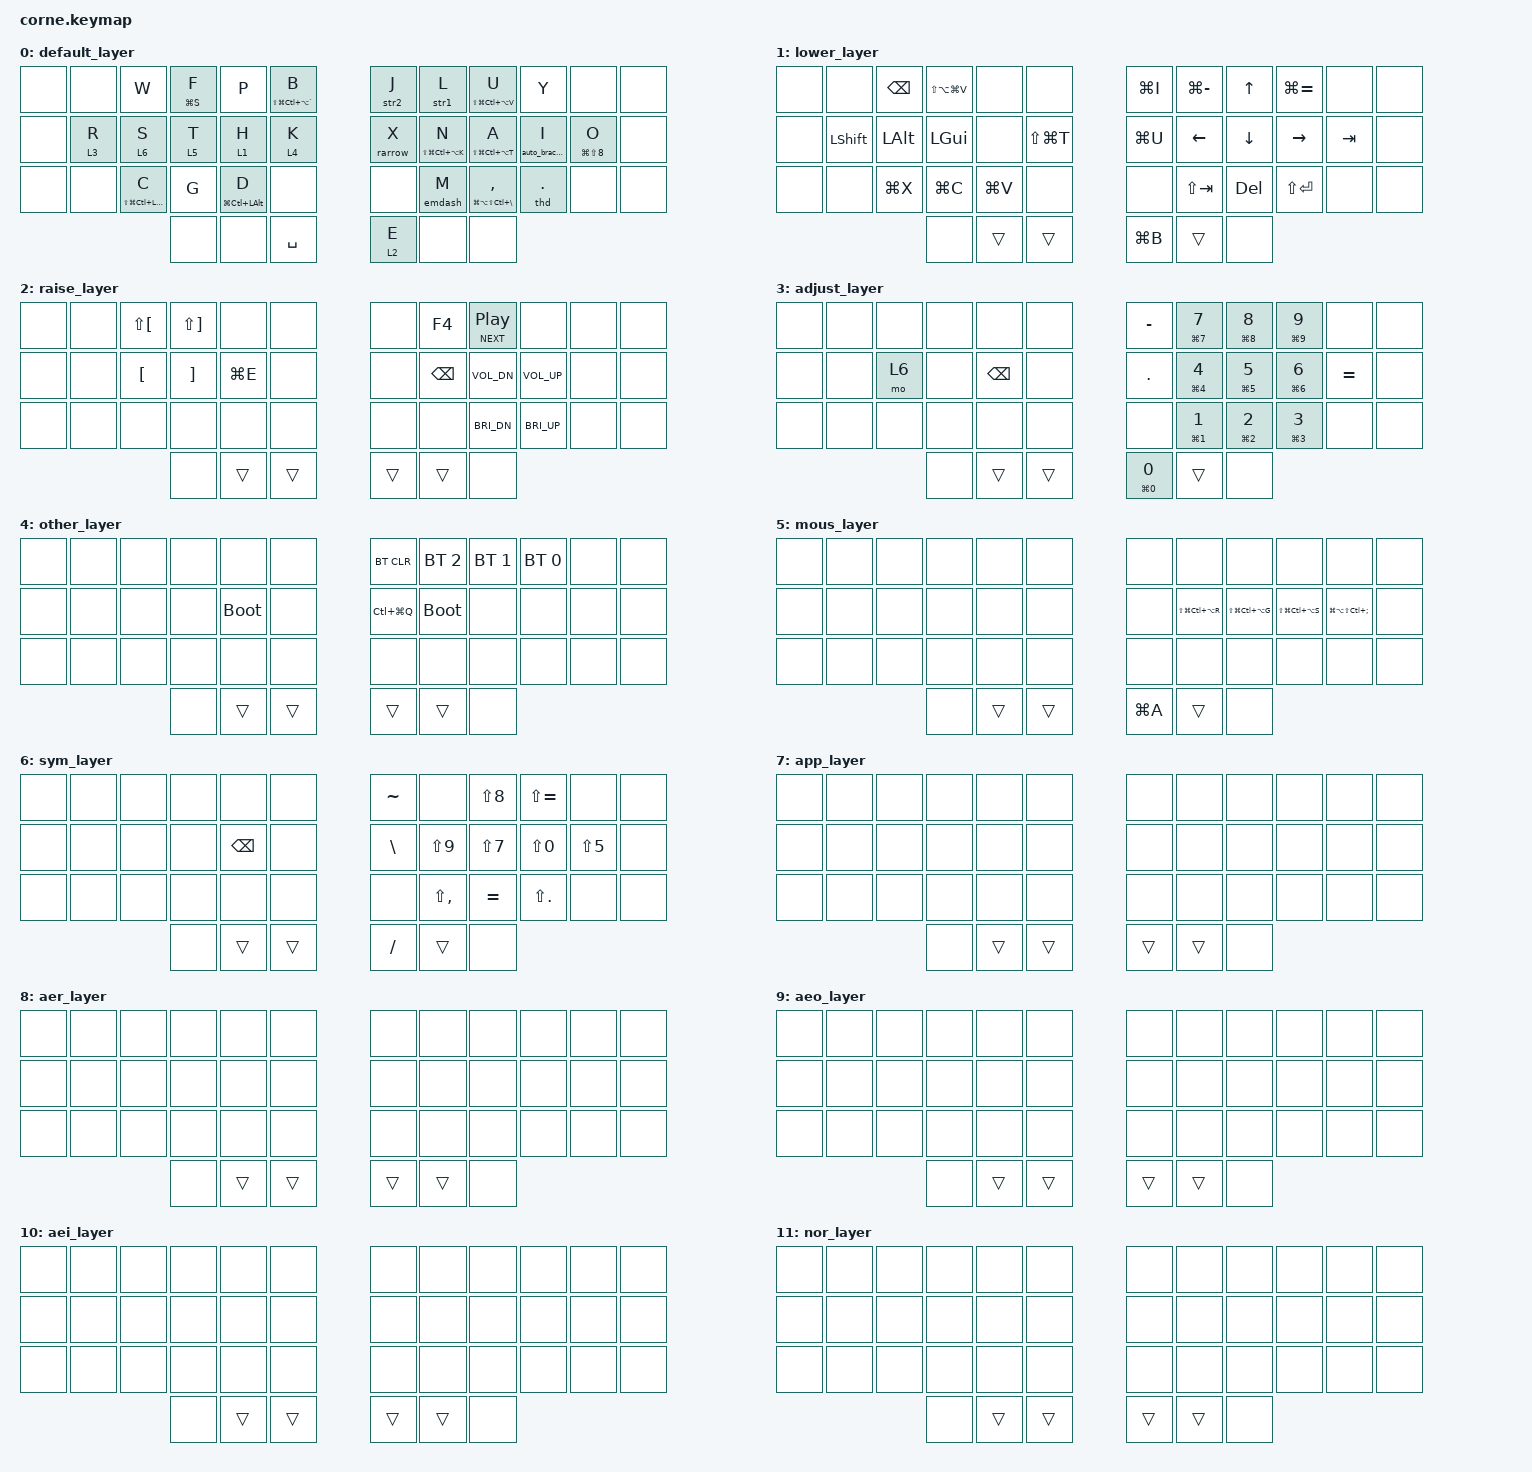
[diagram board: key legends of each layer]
#include <behaviors.dtsi>
#include <dt-bindings/zmk/keys.h>
#include <dt-bindings/zmk/bt.h>
#include "helper.h"
#include "keypos_42keys.h"
#include "mouse.dtsi"
 
#define KEYS_L LT5 LT4 LT3 LT2 LT1 LT0 LM5 LM4 LM3 LM2 LM1 LM0 LB5 LB4 LB3 LB2 LB1 LB0
#define KEYS_R RT0 RT1 RT2 RT3 RT4 RT5 RM0 RM1 RM2 RM3 RM4 RM5 RB0 RB1 RB2 RB3 RB4 RB5
#define KEYS_T LH2 LH1 LH0 RH0 RH1 RH2

#define HM_TAPPING_TERM 350
#define COMBO_TAPPING_TERM 500
#define HR_IDLE_TERM 150

#define COMBO_FAST 20
#define COMBO_NORMAL 30
#define COMBO_SLOW 80
#define COMBO_V_SLOW 100
#define HOLD_TIME 250

//thumbs
#define L_TH 38
#define R_TH 39

#define DEFAULT 0
#define LOWER   1
#define RAISE   2
#define ADJUST  3
#define OTHER   4
#define MOUS    5
#define SYM     6
#define APP     7
#define AER     8
#define AEO     9
#define AEI     10
#define NOR     11

//shortcuts
#define MEH_C &hr_l LG(LC(LALT)) C
#define MEHK &kp LG(LC(LALT))           //meh key press
#define MEH LG(LC(LALT))                //meh
#define CLOSETAB &kp LG(W)
#define DELWORD &kp LA(BSPC)
#define PLAINPASTE &kp LS(LA(LG(V))) 
#define REDO &kp LS(LG(Z)) 
#define REDO_TAB &kp LS(LG(T)) 
#define TAB_UP &kp LC(LA(PG_UP))
#define TAB_DN &kp LC(LA(PG_DN))
#define BACK &kp LG(LBKT)  
#define FORWARD &kp LG(RBKT)
#define CMD_K &kp LG(K)
#define CMD_W &kp LG(W)
#define MIN &kp LG(M)                   //minimize
#define LOCK &kp LC(LG(Q))              //lock
#define BULT LG(LS(N8))                 //bullet
#define Z_MUTE LG(LS(A))
#define L_WORD LA(LEFT)
#define R_WORD LA(RIGHT)

//Hyper keys

#define HYPERK    &kp LS(LG(LC(LALT)))     //hyper key press
#define HYPER     LS(LG(LC(LALT)))         //hyper key code
#define TTASK     LS(LG(LC(LA(H))))        //todoist task
#define SSHOT     LS(LG(LC(LA(P))))        //screenshot
#define MSLS      LS(LG(LC(LA(LBKT))))     //homerow app
#define CPLK      LS(LG(LC(LA(D))))        //copy link
#define BBIT      LS(LG(LC(LA(GRAVE))))    //bitwarden autofill
   
#define LD_K_B    LS(LG(LC(LA(NUBS))))     //leader key b
#define RAYC      LS(LG(LC(LA(SQT))))      //raycast
#define AUDO      LS(LG(LC(LA(W))))        //change audio
#define SIDE      LA(LC(LS(LG(MINUS))))    //side bar hyper hyphen
#define HYP_K     LS(LG(LC(LA(K))))        //gemini ai
#define HYP_R     LS(LG(LC(LA(R))))        //clean text
#define HYP_S     LS(LG(LC(LA(S))))        //make text professional
#define HYP_T     LS(LG(LC(LA(T))))        //perplexity
#define HYP_V     LS(LG(LC(LA(V))))        //to do obsidian list
#define HYP_G     LS(LG(LC(LA(G))))        //streamline text
#define HYP_C     LG(LA(LS(LC(C))))        //clipboard
#define HYP_SE    LG(LA(LS(LC(SEMI))))     //make shorter
#define HYP_B     LG(LA(LS(LC(B))))        //input setting
#define HYP_X     LG(LA(LS(LC(X))))        //mouseless
#define HYP_BSLH  LG(LA(LS(LC(BSLH))))     //raycast notes
#define DICT      LG(LA(LS(LC(EQUAL))))    //dictation


//App switcher aerospace keys
#define HYP_1 &kp LS(LG(LC(LA(N1))))
#define HYP_2 &kp LS(LG(LC(LA(N2))))
#define HYP_3 &kp LS(LG(LC(LA(N3))))
#define HYP_4 &kp LS(LG(LC(LA(N4))))
#define HYP_5 &kp LS(LG(LC(LA(N5))))
#define HYP_6 &kp LS(LG(LC(LA(N6))))
#define HYP_7 &kp LS(LG(LC(LA(N7))))
#define HYP_8 &kp LS(LG(LC(LA(N8))))
#define HYP_9 &kp LS(LG(LC(LA(N9))))
#define HYP_0 &kp LS(LG(LC(LA(N0))))

//Aerospace keys - meh keys
#define MEH_Z       &kp LG(LC(LA(Z)))
#define MEH_F       &kp LG(LC(LA(F)))
#define MEH_O       &kp LG(LC(LA(O)))
#define MEH_U       &kp LG(LC(LA(U)))
#define MEH_SE      &kp LG(LC(LA(SEMI)))

#define MEH_M       &kp LG(LC(LA(M)))
#define MEH_N       &kp LG(LC(LA(N)))
#define MEH_E       &kp LG(LC(LA(E)))
#define MEH_I       &kp LG(LC(LA(I)))
#define MEH_A       &kp LG(LC(LA(A)))

#define MEH_X       &kp LG(LC(LA(X)))
#define MEH_H       &kp LG(LC(LA(H)))
#define MEH_CO      &kp LG(LC(LA(COMMA)))
#define MEH_FU      &kp LG(LC(LA(DOT)))
#define MEH_SL      &kp LG(LC(LA(FSLH)))

#define MEH_Y       &kp LG(LC(LA(Y)))
#define MEH_S       &kp LG(LC(LA(S)))
#define MEH_T       &kp LG(LC(LA(T)))

#define MEH_W       &kp LG(LC(LA(W)))
#define MEH_W_K     LG(LC(LA(W)))

//Hyper keys - right side
#define HYPER_Z     &kp LS(LG(LC(LA(Z))))
#define HYPER_F     &kp LS(LG(LC(LA(F))))
#define HYPER_O     &kp LS(LG(LC(LA(O))))
#define HYPER_U     &kp LS(LG(LC(LA(U))))

#define HYPER_M     &kp LS(LG(LC(LA(M))))
#define HYPER_N     &kp LS(LG(LC(LA(N))))
#define HYPER_E     &kp LS(LG(LC(LA(E))))
#define HYPER_I     &kp LS(LG(LC(LA(I))))
#define HYPER_A     &kp LS(LG(LC(LA(A))))

#define HYPER_X     &kp LS(LG(LC(LA(X))))
#define HYPER_H     &kp LS(LG(LC(LA(H))))
#define HYPER_CO    &kp LS(LG(LC(LA(COMMA))))
#define HYPER_FU    &kp LS(LG(LC(LA(DOT))))
#define HYPER_SL    &kp LS(LG(LC(LA(FSLH))))

#define HYPER_Y     &kp LS(LG(LC(LA(Y))))

//Numbers with cmd on hold
#define CMD_0 &ht LG(N0) N0
#define CMD_1 &ht LG(N1) N1
#define CMD_2 &ht LG(N2) N2 
#define CMD_3 &ht LG(N3) N3 
#define CMD_4 &ht LG(N4) N4 
#define CMD_5 &ht LG(N5) N5 
#define CMD_6 &ht LG(N6) N6 
#define CMD_7 &ht LG(N7) N7 
#define CMD_8 &ht LG(N8) N8 
#define CMD_9 &ht LG(N9) N9 

//Other keys
#define XXX &none
#define ___ &trans
#define AS_FSLH &ht FSLH LS(FSLH)
#define V_UP &kp C_VOL_UP
#define V_DN &kp C_VOL_DN
#define B_UP &kp C_BRI_UP
#define B_DN &kp C_BRI_DN


&lt {  // layer-tap config
    flavor = "tap-preferred";
    tapping-term-ms = <250>;
};

&sk {  // Sticky Layer Change
    release-after-ms = <3000>;
    quick-release;
    //lazy;
};

/*                                      42 KEY MATRIX / LAYOUT MAPPING

  ╭────────────────────────┬────────────────────────╮ 
  │          2   3   4   5 │  6   7   8   9         │ 
  │     13  14  15  16  17 │ 18  19  20  21  22     │ 
  │         26  27  28     │     31  32  33         │
  ╰───────────╮     37  38 │ 39  40     ╭───────────╯ 
              ╰────────────┴────────────╯                               */

/ {

//------------------------------------------------------------------------------------------------------------------------------------ MACROS

    macros {
        auto_brackets: auto_brackets {
            compatible = "zmk,behavior-macro";
            #binding-cells = <0>;
            bindings
                = <&kp LS(N9)>
                , <&kp LS(N0)>
                , <&kp LEFT>
                ;
        };

        sel_line: sel_line {
            compatible = "zmk,behavior-macro";
            #binding-cells = <0>;
            bindings
                = <&kp LG(RIGHT)>
                , <&kp LG(LS(LEFT))>
                ;
        };

        sel_word: sel_word {
            compatible = "zmk,behavior-macro";
            #binding-cells = <0>;
            bindings
                = <&kp LA(LS(LEFT))>
                ;
        };

        sched: sched {
            compatible = "zmk,behavior-macro";
            #binding-cells = <0>;
            bindings
                = <&kp LA(LS(LG(LC(V))))>
                ;
        };

        tap: tap {
            compatible = "zmk,behavior-macro-one-param";
            #binding-cells = <1>;
            // By default, macros will tap each behavior in the bindings list,
            // so this will tap "&kp <param1>".
            bindings = <&macro_param_1to1 &kp MACRO_PLACEHOLDER>;
        };

        str1: str1 {
            compatible = "zmk,behavior-macro";
            #binding-cells = <0>;
            bindings
                = <&macro_tap &kp LS(F) &kp R &kp A &kp N &kp K &kp I &kp E &kp LS(O) &kp N &kp E &kp N2 &kp N5 &kp LS(N5)>
                ;
        };    

        str2: str2 {
            compatible = "zmk,behavior-macro";
            #binding-cells = <0>;
            bindings
                = <&macro_tap &kp N3 &kp N1 &kp LS(V) &kp A &kp L &kp E &kp N &kp C &kp I &kp A &kp LS(S) &kp T &kp R &kp E &kp E &kp T &kp LS(N1) &kp N2 &kp N0 &kp N1 &kp N9>
                ;
        };    

        ddash: ddash {
            compatible = "zmk,behavior-macro";
            #binding-cells = <0>;
            bindings
                = <&macro_tap &kp MINUS>
                ;
        };

        qquest: qquest {
            compatible = "zmk,behavior-macro";
            #binding-cells = <0>;
            bindings
                = <&macro_tap &kp Q &kp U>
                ;
        };

        qquestt: qquestt {
            compatible = "zmk,behavior-macro";
            #binding-cells = <0>;
            bindings
                = <&macro_tap &sk LSHIFT>
                , <&macro_tap &kp Q &kp U>
                ;
        };

        rarrow: rarrow {
            compatible = "zmk,behavior-macro";
            #binding-cells = <0>;
            bindings
                = <&macro_tap &kp MINUS &kp MINUS &kp LS(DOT)>
                ;
        };

        rcmdd: rcmdd {
            compatible = "zmk,behavior-macro";
            #binding-cells = <0>;
            bindings
                = <&macro_tap &kp RGUI>
                ;
        };

        cplink: cplink {
            compatible = "zmk,behavior-macro";
            #binding-cells = <0>;
            bindings
                = <&macro_tap &kp CPLK>
                ;
        };

        seall: seall {
            compatible = "zmk,behavior-macro";
            #binding-cells = <0>;
            bindings
                = <&macro_tap &kp LG(A)>
                ;
        };

        emdash: emdash {
            compatible = "zmk,behavior-macro";
            #binding-cells = <0>;
            bindings
                = <&macro_tap &kp LS(LA(MINUS))>
                ;
        };

        slact: slact {
            compatible = "zmk,behavior-macro";
            #binding-cells = <0>;
            bindings
                = <&macro_tap &kp LC(N3)>
                ;
        };

        tdist: tdist {     //todoist shortcut
            compatible = "zmk,behavior-macro";
            #binding-cells = <0>;
            bindings
                = <&macro_press &kp LS(LG(LC(LEFT_ALT)))>
                , <&macro_tap &kp H>
                , <&macro_release &kp LS(LG(LC(LEFT_ALT)))>
                ;
        };

        scalet: scalet {     //scale hash tag
            compatible = "zmk,behavior-macro";
            #binding-cells = <0>;
            bindings
                = <&macro_tap &kp LS(N3) &kp S &kp C &kp A &kp L &kp TAB>
                ;
        };

        mosrcl: mosrcl {
            compatible = "zmk,behavior-macro";
            #binding-cells = <0>;
            bindings
                = <&macro_tap &kp LS(LG(LC(LA(W))))> 
                , <&to 5>
                ;
        };

        thd: thd {
            compatible = "zmk,behavior-macro";
            #binding-cells = <0>;
            bindings
                = <&macro_tap &kp MINUS &kp MINUS &kp MINUS>
                ;
        };

        moclk: moclk {
            compatible = "zmk,behavior-macro";
            #binding-cells = <0>;
            bindings
                = <&macro_press &kp LS(LG(LC(LEFT_ALT)))>
                , <&macro_tap &kp LBKT>
                , <&macro_release &kp LS(LG(LC(LEFT_ALT)))>
                ;
        };

        dline: dline {
            compatible = "zmk,behavior-macro";
            #binding-cells = <0>;
            bindings
                = <&macro_press &kp LCMD>
                , <&macro_tap &kp LEFT>
                , <&macro_tap &kp LEFT>
                , <&macro_press &kp LSHIFT>
                , <&macro_tap &kp RIGHT>
                , <&macro_release &kp LCMD>
                , <&macro_release &kp LSHIFT>
                , <&macro_tap &kp BSPC>
                , <&macro_tap &kp BSPC>
                ;
        };

        dline_b: dline_b {
            compatible = "zmk,behavior-macro";
            #binding-cells = <0>;
            bindings
                = <&macro_press &kp LCMD>
                , <&macro_tap &kp LEFT>
                , <&macro_tap &kp LEFT>
                , <&macro_press &kp LSHIFT>
                , <&macro_tap &kp RIGHT>
                , <&macro_release &kp LCMD>
                , <&macro_release &kp LSHIFT>
                , <&macro_tap &kp BSPC>
                ;
        };
    };

//------------------------------------------------------------------------------------------------------------------------------------ COMBOS

    combos {
        compatible = "zmk,combos";

// screenshot
        combo_screenshot {
            timeout-ms = <COMBO_V_SLOW>;
            key-positions = <L_TH 14 3>;
            require-prior-idle-ms = <COMBO_FAST>;
            bindings = <&kp SSHOT>;
        };

// copy link
        combo_copy_link {
            timeout-ms = <COMBO_V_SLOW>;
            key-positions = <L_TH 15 16>;
            require-prior-idle-ms = <COMBO_FAST>;
            bindings = <&kp CPLK>;
        };

// clipboard
        combo_clip_board {
            timeout-ms = <COMBO_V_SLOW>;
            key-positions = <19 20 33>;
            require-prior-idle-ms = <COMBO_FAST>;
            bindings = <&kp HYP_C>;
        };

// leader key
        combo_ldr_key {
            timeout-ms = <COMBO_V_SLOW>;
            key-positions = <31 20 21>;
            require-prior-idle-ms = <COMBO_FAST>;
            bindings = <&kp LD_K_B>;
        };

// raycast
        combo_raycast {
            timeout-ms = <COMBO_V_SLOW>;
            key-positions = <R_TH 20 21>;
            require-prior-idle-ms = <COMBO_FAST>;
            bindings = <&kp RAYC>;
        };

// capsword right
        combo_r_capsword {
            timeout-ms = <COMBO_V_SLOW>;
            key-positions = <R_TH 8 9>;
            require-prior-idle-ms = <COMBO_FAST>;
            bindings = <&caps_word>;
        };

// right hand combo shift
        combo_shift {
            timeout-ms = <COMBO_NORMAL>;
            key-positions = <32 33>;
            require-prior-idle-ms = <COMBO_FAST>;
            bindings = <&sk LSHIFT>;
        };

// dictation
        combo_dictation { 
            timeout-ms = <COMBO_V_SLOW>;
            key-positions = <R_TH 19 20>;
            require-prior-idle-ms = <COMBO_FAST>;
            bindings = <&kp DICT>;
        };

// mouseless click
        combo_mouseless_click {
            timeout-ms = <COMBO_V_SLOW>;
            key-positions = <L_TH 2 3>;
            require-prior-idle-ms = <COMBO_FAST>;
            bindings = <&kp HYP_X>;
        };

// : colon
        combo_colon {
            timeout-ms = <COMBO_V_SLOW>;
            key-positions = <19 32>;
            require-prior-idle-ms = <COMBO_FAST>;
            bindings = <&kp LS(SEMI)>;
        };

// ; semicolon
        combo_semicolon {
            timeout-ms = <COMBO_V_SLOW>;
            key-positions = <R_TH 19 32>;
            require-prior-idle-ms = <COMBO_FAST>;
            bindings = <&kp SEMI>;
        };

// ? question
        combo_question {
            timeout-ms = <COMBO_V_SLOW>;
            key-positions = <19 33>;
            require-prior-idle-ms = <COMBO_FAST>;
            bindings = <&kp LS(FSLH)>;
        };

// ! exclamation point
        combo_excl_point {
            timeout-ms = <COMBO_V_SLOW>;
            key-positions = <R_TH 19 33>;
            require-prior-idle-ms = <COMBO_FAST>;
            bindings = <&kp LS(N1)>;
        };

// @ at sign
        combo_at_sign {
            timeout-ms = <COMBO_V_SLOW>;
            key-positions = <R_TH 19 21>;
            require-prior-idle-ms = <COMBO_FAST>; 
            bindings = <&kp LS(N2)>;
        };

// # hash sign
        combo_hash_sign {
            timeout-ms = <20>;
            key-positions = <14 15>;
            require-prior-idle-ms = <50>;
            bindings = <&kp LS(N3)>;
        };

// $ dollar sign
        combo_dollar_sign {
            timeout-ms = <20>;
            key-positions = <15 16>;
            require-prior-idle-ms = <50>;
            bindings = <&kp LS(N4)>;
        };

// ' apostrophe
        combo_apos {
            timeout-ms = <COMBO_V_SLOW>;
            key-positions = <20 33>;
            require-prior-idle-ms = <COMBO_FAST>;
            bindings = <&kp SQT>;
        };

// cmd k
        combo_cmd_k {
            timeout-ms = <COMBO_NORMAL>;
            key-positions = <8 9>;
            require-prior-idle-ms = <COMBO_FAST>;
            bindings = <&kp LG(K)>;
        };

// key press v
        combo_kp_v {
            timeout-ms = <COMBO_V_SLOW>;
            key-positions = <14 15 16>;
            require-prior-idle-ms = <COMBO_FAST>;
            bindings = <&kp V>;
        };

// key press V - caps
        combo_kp_v_caps {
            timeout-ms = <COMBO_V_SLOW>;
            key-positions = <L_TH 14 15 16>;
            require-prior-idle-ms = <COMBO_FAST>;
            bindings = <&kp LS(V)>;
        };

// key press qu
        combo_kp_qu {
            timeout-ms = <COMBO_NORMAL>;
            key-positions = <3 4>;
            require-prior-idle-ms = <COMBO_FAST>;
            bindings = <&qquest>;
        };

// key press Qu - caps
        combo_kp_qu_caps {
            timeout-ms = <COMBO_V_SLOW>;
            key-positions = <3 4 L_TH>;
            require-prior-idle-ms = <COMBO_FAST>;
            bindings = <&qquestt>;
        };

// key press q
        combo_kp_q {
            timeout-ms = <COMBO_NORMAL>;
            key-positions = <2 4>;
            require-prior-idle-ms = <COMBO_FAST>;
            bindings = <&kp Q>;
        };

// key press Q - caps
        combo_kp_q_caps {
            timeout-ms = <COMBO_V_SLOW>;
            key-positions = <L_TH 2 4>;
            require-prior-idle-ms = <COMBO_FAST>;
            bindings = <&kp LS(Q)>;
        };

// key press z
        combo_kp_z {
            timeout-ms = <COMBO_NORMAL>;
            key-positions = <7 8>;
            require-prior-idle-ms = <COMBO_FAST>;
            bindings = <&kp Z>;
        };

// key press Z - caps
        combo_kp_z_caps {
            timeout-ms = <COMBO_V_SLOW>;
            key-positions = <R_TH 7 8>;
            require-prior-idle-ms = <30>;
            bindings = <&kp LS(Z)>;
        };

// cmd delete
        combo_perm_del {
            timeout-ms = <COMBO_FAST>;
            key-positions = <5 17>;
            require-prior-idle-ms = <COMBO_TAPPING_TERM>;
            bindings = <&kp LG(BSPC)>;
        };

// delword right hand
        combo_del_word {
            timeout-ms = <COMBO_V_SLOW>;
            key-positions = <19 8 9>;
            require-prior-idle-ms = <COMBO_FAST>;
            bindings = <DELWORD>;
        };

// tab
        combo_tab {             
            timeout-ms = <COMBO_NORMAL>;
            key-positions = <14 26>;
            require-prior-idle-ms = <COMBO_FAST>;
            bindings = <&kp TAB>;
        };

// delete left hand
        combo_del_l { 
            timeout-ms = <COMBO_V_SLOW>;
            key-positions = <2 3 16>;
            require-prior-idle-ms = <COMBO_FAST>;
            bindings = <&kp BSPC>;
        };

// undo cmd z
        combo_undo {
            timeout-ms = <COMBO_V_SLOW>;
            key-positions = <L_TH 14 15>;
            require-prior-idle-ms = <COMBO_FAST>;
            bindings = <&kp LG(Z)>;
        };

// find
        combo_find {
            timeout-ms = <COMBO_V_SLOW>;
            key-positions = <4 5>;
            require-prior-idle-ms = <COMBO_FAST>;
            bindings = <&kp LG(F)>;
        };

// enter - return left
        combo_ret_l {
            timeout-ms = <COMBO_V_SLOW>;
            key-positions = <14 15 28>;
            require-prior-idle-ms = <COMBO_FAST>;
            bindings = <&kp RET>;
        };

// enter - return right
        combo_ret_r {
            timeout-ms = <COMBO_V_SLOW>;
            key-positions = <19 20 21>;
            require-prior-idle-ms = <COMBO_FAST>;
            bindings = <&kp RET>;
        };

// esc left
//        combo_esc_l {
//            timeout-ms = <COMBO_FAST>;
//            key-positions = <3 15>;
//            require-prior-idle-ms = <50>;
//            bindings = <&kp ESC>;
//        };

// esc right
//        combo_esc_r {
//            timeout-ms = <COMBO_FAST>;
//            key-positions = <8 20>;
//            require-prior-idle-ms = <50>;
//            bindings = <&kp ESC>;
//        };

// esc left 2
        combo_esc_l_2 {
            timeout-ms = <COMBO_V_SLOW>;
            key-positions = <13 14 15 16>;
            require-prior-idle-ms = <COMBO_FAST>;
            bindings = <&kp ESC>;
        };

// esc right
        combo_esc_r_2 {
            timeout-ms = <COMBO_V_SLOW>;
            key-positions = <19 20 21 22>;
            require-prior-idle-ms = <COMBO_FAST>;
            bindings = <&kp ESC>;
        };

// copy - cmd C - left
        combo_cmd_C {
            timeout-ms = <COMBO_FAST>;
            key-positions = <26 27>;
            require-prior-idle-ms = <150>;
            bindings = <&kp LG(C)>;
        };

// paste - cmd V - left
        combo_cmd_V {
            timeout-ms = <COMBO_FAST>;
            key-positions = <27 28>;
            require-prior-idle-ms = <150>;
            bindings = <&kp LG(V)>;
        };

// select all - cmd A - left
        combo_cmd_A {
            timeout-ms = <COMBO_SLOW>;
            key-positions = <26 27 28>;
            require-prior-idle-ms = <150>;
            bindings = <&kp LG(A)>;
        };

// cut - cmd X - left
        combo_cmd_X {
            timeout-ms = <COMBO_SLOW>;
            key-positions = <26 28>;
            require-prior-idle-ms = <150>;
            bindings = <&kp LG(X)>;
        };

// refresh - cmd R
        combo_refresh {
            timeout-ms = <COMBO_NORMAL>;
            key-positions = <16 28>;
            require-prior-idle-ms = <80>;
            bindings = <&kp LG(R)>;
        };

// back key
        combo_hypk {
            timeout-ms = <COMBO_FAST>;
            key-positions = <2 14>;
            require-prior-idle-ms = <150>;
            bindings = <&kp LG(LBKT)>;
        };

// max window - meh a
        combo_mmw {
            timeout-ms = <COMBO_V_SLOW>;
            key-positions = <L_TH 2 3 4>;
            require-prior-idle-ms = <COMBO_FAST>;
            bindings = <MEH_A>;
        };

// hyphen - 
        combo_hyphen {
            timeout-ms = <COMBO_V_SLOW>;
            key-positions = <R_TH 19 20 21>;
            require-prior-idle-ms = <COMBO_FAST>;
            bindings = <&kp MINUS>;
        };

// change output audio
        combo_o_audio {
            timeout-ms = <COMBO_FAST>;
            key-positions = <21 33>;
            require-prior-idle-ms = <150>;
            bindings = <&kp AUDO>;
        };

// change input audio
        combo_i_audio {
            timeout-ms = <COMBO_FAST>;
            key-positions = <9 21>;
            require-prior-idle-ms = <150>;
            bindings = <&kp HYP_B>;
        };        

// command comma ,
        combo_ccma {
            timeout-ms = <COMBO_NORMAL>;
            key-positions = <31 32>;
            require-prior-idle-ms = <COMBO_FAST>;
            bindings = <&kp LG(COMMA)>;
        };

// cmd w - close tab - left
        combo_cmdW_l {
            timeout-ms = <COMBO_NORMAL>;
            key-positions = <2 3>;
            require-prior-idle-ms = <80>;
            bindings = <&kp LG(W)>;
        };

// cmd w - close tab - right
        combo_cmdW_r {
            timeout-ms = <COMBO_SLOW>;
            key-positions = <7 8 9>;
            require-prior-idle-ms = <COMBO_FAST>;
            bindings = <&kp LG(W)>;
        };

// new - cmd n
        combo_cmdN {
            timeout-ms = <COMBO_FAST>;
            key-positions = <20 32>;
            require-prior-idle-ms = <COMBO_TAPPING_TERM>;
            bindings = <&kp LG(N)>;
        };     

// search files - cmd O
        combo_cmdO {
            timeout-ms = <COMBO_FAST>;
            key-positions = <6 7>;
            require-prior-idle-ms = <80>;
            bindings = <&kp LG(O)>;
        };

// quit
        combo_cmdQ {
            timeout-ms = <COMBO_SLOW>;
            key-positions = <2 3 8 9>;
            require-prior-idle-ms = <COMBO_TAPPING_TERM>;
            bindings = <&kp LG(Q)>;
        };

// delete line right - left top middle ring
        combo_del_line_r {
            timeout-ms = <COMBO_FAST>;
            key-positions = <6 18>;
            require-prior-idle-ms = <COMBO_TAPPING_TERM>;
            bindings = <&dline>;
        };

// hyper hyphen - sidebar
        combo_cmd_hyphen {
            timeout-ms = <COMBO_SLOW>;
            key-positions = <2 3 4>;
            require-prior-idle-ms = <COMBO_TAPPING_TERM>;
            bindings = <&kp SIDE>;
        };
    };

//------------------------------------------------------------------------------------------------------------------------------------ BEHAVIOURS

    behaviors {

//mod morph - , <> ;
        mcs: mod_comma_semi {
            compatible = "zmk,behavior-mod-morph";
            #binding-cells = <0>;
            bindings = <&kp COMMA>, <&kp SEMI>;
            mods = <(MOD_LSFT|MOD_RSFT)>;
        };

//mod morph - . <> :
        mdc: mod_dot_colon {
            compatible = "zmk,behavior-mod-morph";
            #binding-cells = <0>;
            bindings = <&kp DOT>, <&kp LS(SEMI)>;
            mods = <(MOD_LSFT|MOD_RSFT)>;
        };

//thumb hold with 2 keys
        th_kp: require-prior-idle {
            compatible = "zmk,behavior-hold-tap";
            #binding-cells = <2>;
            flavor = "balanced";
            tapping-term-ms = <250>; //updated from HM_TAPPING_TERM
            require-prior-idle-ms = <15>; // this was updated lower from 25         
            bindings = <&kp>, <&kp>;
        };

//thumb hold with layer+keys
        th_l: thumb_right_hold {
            compatible = "zmk,behavior-hold-tap";
            #binding-cells = <2>;
            flavor = "balanced";
            tapping-term-ms = <250>; //updated from HM_TAPPING_TERM
            require-prior-idle-ms = <25>;         
            bindings = <&mo>, <&kp>;
        };

//thumb hold with layers+sticky key
        th_lr: thumb_rightrepeat_hold {
            compatible = "zmk,behavior-hold-tap";
            #binding-cells = <2>;
            flavor = "balanced";
            tapping-term-ms = <250>; //updated from HM_TAPPING_TERM
            require-prior-idle-ms = <25>;         
            bindings = <&mo>, <&sk>;
        };

//home row mods left
        hr_l: homerow_mods_left {
            compatible = "zmk,behavior-hold-tap";
            #binding-cells = <2>;
            bindings = <&kp>,  <&kp>;
            flavor = "balanced";
            tapping-term-ms = <HM_TAPPING_TERM>;
            quick-tap-ms = <175>;               
            require-prior-idle-ms = <HR_IDLE_TERM>; 
            hold-trigger-key-positions = <KEYS_R KEYS_T>;
            hold-trigger-on-release;            
        };

//home row mods right
        hr_r: homerow_mods_right {
            compatible = "zmk,behavior-hold-tap";
            #binding-cells = <2>;
            bindings = <&kp>, <&kp>;
            flavor = "balanced";
            tapping-term-ms = <HM_TAPPING_TERM>;
            quick_tap_ms = <175>;
            require-prior-idle-ms = <HR_IDLE_TERM>; 
            hold-trigger-key-positions = <KEYS_L KEYS_T>;
            hold-trigger-on-release;           
        };

//home row layers left
        hl_l: homerow_layers_left {
            compatible = "zmk,behavior-hold-tap";
            #binding-cells = <2>;
            bindings = <&mo>,  <&kp>;
            flavor = "balanced";
            tapping-term-ms = <HM_TAPPING_TERM>;
            quick-tap-ms = <175>;              
            require-prior-idle-ms = <HR_IDLE_TERM>; 
            hold-trigger-key-positions = <KEYS_R KEYS_T>;
            hold-trigger-on-release;            
        };

//home row layers right
        hl_r: homerow_layers_right {
            compatible = "zmk,behavior-hold-tap";
            #binding-cells = <2>;
            bindings = <&mo>, <&kp>;
            flavor = "balanced";
            tapping-term-ms = <HM_TAPPING_TERM>;
            quick_tap_ms = <175>;
            require-prior-idle-ms = <HR_IDLE_TERM>;   
            hold-trigger-key-positions = <KEYS_L KEYS_T>;
            hold-trigger-on-release;            
        };

//hold autoshift with keys (&as)        
        as: auto_shift {
            compatible = "zmk,behavior-hold-tap";
            #binding-cells = <2>;
            tapping_term_ms = <HOLD_TIME>;
            quick_tap_ms = <0>;
            flavor = "tap-preferred";
            bindings = <&kp>, <&kp>;
        };

//hold tap only (&ht)        
        ht: hold_tap {
            compatible = "zmk,behavior-hold-tap";
            #binding-cells = <2>;
            tapping_term_ms = <HOLD_TIME>;
            quick_tap_ms = <0>;
            flavor = "tap-preferred";
            bindings = <&tap>, <&kp>;
        };

//sticky keys long hold - rcmd
        skq: sticky_key_quick_release {
            compatible = "zmk,behavior-sticky-key";
            #binding-cells = <1>;
            bindings = <&kp>;
            release-after-ms = <20000>;
            quick-release;
        };

//dash
        ed: ed {
            compatible = "zmk,behavior-hold-tap";
            #binding-cells = <2>;
            tapping_term_ms = <HOLD_TIME>;
            quick_tap_ms = <0>;
            flavor = "tap-preferred";
            bindings = <&ddash>, <&kp>;
        };

//brackets
        ab: ab {
            compatible = "zmk,behavior-hold-tap";
            #binding-cells = <2>;
            tapping_term_ms = <HOLD_TIME>;
            quick_tap_ms = <0>;
            flavor = "tap-preferred";
            bindings = <&auto_brackets>, <&kp>;
        };

//right arrow        
        ra: ra {
            compatible = "zmk,behavior-hold-tap";
            #binding-cells = <2>;
            tapping_term_ms = <HOLD_TIME>;
            quick_tap_ms = <0>;
            flavor = "tap-preferred";
            bindings = <&rarrow>, <&kp>;
        };

//rcmd
        rc: rc {
            compatible = "zmk,behavior-hold-tap";
            #binding-cells = <2>;
            tapping_term_ms = <HOLD_TIME>;
            quick_tap_ms = <0>;
            flavor = "tap-preferred";
            bindings = <&skq>, <&kp>;
        };

//copy link        
        cl: cl {
            compatible = "zmk,behavior-hold-tap";
            #binding-cells = <2>;
            tapping_term_ms = <HOLD_TIME>;
            quick_tap_ms = <0>;
            flavor = "tap-preferred";
            bindings = <&cplink>, <&kp>;
        };

//qu on tap, q on hold
        qq: qq {
            compatible = "zmk,behavior-hold-tap";
            #binding-cells = <2>;
            tapping_term_ms = <HOLD_TIME>;
            quick_tap_ms = <0>;
            flavor = "tap-preferred";
            bindings = <&kp>, <&qquest>;
        };

//select all
        sal: sal {
            compatible = "zmk,behavior-hold-tap";
            #binding-cells = <2>;
            tapping_term_ms = <HOLD_TIME>;
            quick_tap_ms = <0>;
            flavor = "tap-preferred";
            bindings = <&seall>, <&kp>;
        };

//emdash
        emd: emd {
            compatible = "zmk,behavior-hold-tap";
            #binding-cells = <2>;
            tapping_term_ms = <HOLD_TIME>;
            quick_tap_ms = <0>;
            flavor = "tap-preferred";
            bindings = <&emdash>, <&kp>;
        };

//schedule
        sch: sch {
            compatible = "zmk,behavior-hold-tap";
            #binding-cells = <2>;
            tapping_term_ms = <HOLD_TIME>;
            quick_tap_ms = <0>;
            flavor = "tap-preferred";
            bindings = <&sched>, <&kp>;
        };

//str
        str: str {
            compatible = "zmk,behavior-hold-tap";
            #binding-cells = <2>;
            tapping_term_ms = <HOLD_TIME>;
            quick_tap_ms = <0>;
            flavor = "tap-preferred";
            bindings = <&str1>, <&kp>;
        };

//str2
        strr: strr {
            compatible = "zmk,behavior-hold-tap";
            #binding-cells = <2>;
            tapping_term_ms = <HOLD_TIME>;
            quick_tap_ms = <0>;
            flavor = "tap-preferred";
            bindings = <&str2>, <&kp>;
        };

//slack activity
        sla: sla {
            compatible = "zmk,behavior-hold-tap";
            #binding-cells = <2>;
            tapping_term_ms = <HOLD_TIME>;
            quick_tap_ms = <0>;
            flavor = "tap-preferred";
            bindings = <&slact>, <&kp>;
        };

//todoist
        tdt: tdt {
            compatible = "zmk,behavior-hold-tap";
            #binding-cells = <2>;
            tapping_term_ms = <HOLD_TIME>;
            quick_tap_ms = <0>;
            flavor = "tap-preferred";
            bindings = <&tdist>, <&kp>;
        };

//scale todoist
        sct: sct {
            compatible = "zmk,behavior-hold-tap";
            #binding-cells = <2>;
            tapping_term_ms = <HOLD_TIME>;
            quick_tap_ms = <0>;
            flavor = "tap-preferred";
            bindings = <&scalet>, <&kp>;
        };

//three hyphens
        thh: thh {
            compatible = "zmk,behavior-hold-tap";
            #binding-cells = <2>;
            tapping_term_ms = <HOLD_TIME>;
            quick_tap_ms = <0>;
            flavor = "tap-preferred";
            bindings = <&thd>, <&kp>;
        };

//mouse click - homerow
        mms: mms {
            compatible = "zmk,behavior-hold-tap";
            #binding-cells = <2>;
            tapping_term_ms = <HOLD_TIME>;
            quick_tap_ms = <0>;
            flavor = "tap-preferred";
            bindings = <&moclk>, <&kp>;
        };

//scale tag
        scd: scd {
            compatible = "zmk,behavior-hold-tap";
            #binding-cells = <2>;
            tapping_term_ms = <HOLD_TIME>;
            quick_tap_ms = <0>;
            flavor = "tap-preferred";
            bindings = <&scalet>, <&kp>;
        };

    };

//------------------------------------------------------------------------------------------------------------------------------------ KEYMAP

        keymap {
                compatible = "zmk,keymap";

                default_layer {
                        bindings = <
/* 
aptmak
  ┌────────────┬──────────────┬─────────────┬──────────────┬────────────┐                    ┌─────────────┬──────────────┬─────────────┬───────────┬─────────────┐
                               save                         bitwarden                         string2       string1        priority note 
  ├────────────┼──────────────┼─────────────┼──────────────┼────────────┤                    ├─────────────┼──────────────┼─────────────┼───────────┼─────────────┤
   numbers      symbols        manage layer  layer 1        bluetooth                         arrow         layer 7        voice search  brackets    bullet     
  ├────────────┼──────────────┼─────────────┼──────────────┼────────────┤                    ├─────────────┼──────────────┼─────────────┼───────────┼─────────────┤
                hyper                        meh                                                            em dash        raycast notes ---          
  └────────────┴──────────────┴───┬─────────┴─────┬────────┴───┬────────┘                    └───────┬─────┴───┬──────────┴─────────────┴───────────┴─────────────┘   
                                                XXX  &th_ls LSHIFT 0                      &th_l 2 SPACE      &sk LSHIFT  XXX
                                                  └────────────┴─────────────┘         └─────────┴─────────────┘ */

//┌────────────┬──────────────┬─────────────┬──────────────┬────────────┐                    ┌─────────────┬──────────────┬─────────────┬───────────┬─────────────┐
XXX   XXX          &kp W          &ht LG(S) F &kp P         &ht BBIT B                        &strr 0 J     &str 0 L       &ht HYP_V U         &kp Y       XXX         XXX
//├────────────┼──────────────┼─────────────┼──────────────┼────────────┤                    ├─────────────┼──────────────┼─────────────┼───────────┼─────────────┤
XXX   &hl_l 3 R    &hl_l 6 S      &hl_l 5 T   &hl_l 1 H     &hl_l 4 K                         &ra 0 X       &ht HYP_K N    &ht HYP_T A         &ab 0 I     &ht BULT O  XXX  
//├────────────┼──────────────┼─────────────┼──────────────┼────────────┤                    ├─────────────┼──────────────┼─────────────┼───────────┼─────────────┤
XXX   XXX          &as HYPER C    &kp G       &as MEH D     XXX                               XXX           &emd 0 M       &ht HYP_BSLH COMMA  &thh 0 DOT  XXX         XXX  
//└────────────┴──────────────┴─────────────┴─────┬────────┴───┬────────┘                    └───┬─────────┴───┬──────────┴─────────────┴───────────┴─────────────┘   
                                               XXX    XXX         &kp SPACE                &th_l 2 E  XXX XXX        
                                               // └────────────┴─────────────┘         └─────────┴─────────────┘ 
                        >;
                };
                
                lower_layer {
                        bindings = <

// layer 1 - navigation and editing - left index

//┌────────────┬────────────┬──────────┬───────────┬─────────┐                    ┌───────────────┬─────────────┬─────────────┬───────────┬──────────┐
XXX   XXX          &kp BSPC     PLAINPASTE  XXX         XXX                           &kp LG(I)       &kp LG(MINUS) &kp UP        &kp LG(EQUAL)  XXX      XXX
//├────────────┼────────────┼──────────┼───────────┼─────────┤                    ├───────────────┼─────────────┼─────────────┼───────────┼──────────┤
XXX   &kp LSHFT    &kp LALT     &kp LGUI    XXX         REDO_TAB                      &kp LG(U)       &kp LEFT      &kp DOWN      &kp RIGHT      &kp TAB  XXX
//├────────────┼────────────┼──────────┼───────────┼─────────┤                    ├───────────────┼─────────────┼─────────────┼───────────┼──────────┤
XXX   XXX          &kp LG(X)    &kp LG(C)   &kp LG(V)   XXX                           XXX             &kp LS(TAB)   &kp DEL       &kp LS(RET)    XXX      XXX     
//└────────────┴────────────┴───┬──────┴─────┬─────┴───┬─────┘                    └───┬───────────┴───┬─────────┴─────────────┴───────────┴──────────┘
                          XXX     ___          ___                            &kp LG(B)    ___     XXX            
                             // └────────────┴─────────┘                    └─────────┴───────────────┘
                        >;
                };

                raise_layer {
                        bindings = < 

// layer 2 - media - right thumb

//┌─────────┬─────────┬──────────┬──────────────┬────────────┐                    ┌─────────┬──────────┬─────────────┬──────────────┬──────────┐
XXX   XXX   &kp LS(LBKT)  &kp LS(RBKT) XXX          XXX                               XXX    &kp F4     &ht C_NEXT C_PP  XXX         XXX   XXX
//├─────────┼─────────┼──────────┼──────────────┼────────────┤                    ├─────────┼──────────┼─────────────┼──────────────┼──────────┤
XXX   XXX   &kp LBKT      &kp RBKT     &kp LG(E)    XXX                               XXX    &kp BSPC   V_DN             V_UP        XXX   XXX    
//├─────────┼─────────┼──────────┼──────────────┼────────────┤                    ├─────────┼──────────┼─────────────┼──────────────┼──────────┤
XXX   XXX   XXX           XXX          XXX          XXX                               XXX    XXX        B_DN             B_UP        XXX   XXX
//└─────────┴─────────┴───┬──────┴─────┬────────┴───┬────────┘                    └───┬─────┴───┬──────┴─────────────┴──────────────┴──────────┘
                     XXX    ___         ___                           ___        ___      XXX
                       // └────────────┴─────────┘                    └─────────┴─────────┘
                        >;
                };

                adjust_layer {
                        bindings = <                    

// layer 3 - numbers and settings and nav - left middle finger

//┌─────────┬─────────┬──────────┬───────────┬─────────┐                    ┌─────────┬──────────┬─────────────┬───────────┬─────────────┐
XXX   XXX       XXX       XXX        XXX         XXX                            &kp MINUS CMD_7      CMD_8         CMD_9       XXX        XXX
//├─────────┼─────────┼──────────┼───────────┼─────────┤                    ├─────────┼──────────┼─────────────┼───────────┼─────────────┤
XXX   XXX       &mo 6     XXX        &kp BSPC    XXX                            &kp DOT   CMD_4      CMD_5         CMD_6       &kp EQUAL  XXX     
//├─────────┼─────────┼──────────┼───────────┼─────────┤                    ├─────────┼──────────┼─────────────┼───────────┼─────────────┤
XXX   XXX       XXX       XXX        XXX         XXX                            XXX       CMD_1      CMD_2         CMD_3       XXX        XXX      
//└─────────┴─────────┴───┬──────┴─────┬─────┴───┬─────┘                    └───┬─────┴───┬──────┴─────────────┴───────────┴─────────────┘
                   XXX      ___          ___                           CMD_0   ___       XXX                                     
                       // └────────────┴─────────┘                    └─────────┴─────────┘
                        >;
                };

                other_layer {
                        bindings = <                    

// layer 4 - other home row - left index corner

//┌─────────┬─────────┬──────────┬───────────┬─────────┐                    ┌─────────┬─────────────┬─────────────┬──────────────┬──────────┐
XXX   XXX       XXX       XXX        XXX         XXX                            &bt BT_CLR &bt BT_SEL 2  &bt BT_SEL 1  &bt BT_SEL 0   XXX XXX
//├─────────┼─────────┼──────────┼───────────┼─────────┤                    ├─────────┼─────────────┼─────────────┼──────────────┼──────────┤
XXX   XXX       XXX       XXX        &bootloader XXX                            LOCK       &bootloader   XXX           XXX            XXX XXX       
//├─────────┼─────────┼──────────┼───────────┼─────────┤                    ├─────────┼─────────────┼─────────────┼──────────────┼──────────┤
XXX   XXX       XXX       XXX        XXX         XXX                            XXX        XXX           XXX           XXX            XXX XXX
//└─────────┴─────────┴───┬──────┴─────┬─────┴───┬─────┘                    └───┬─────┴───┬─────────┴─────────────┴──────────────┴──────────┘
                     XXX    ___          ___                           ___        ___      XXX
                       // └────────────┴─────────┘                    └─────────┴─────────┘
                        >;
                };

                mous_layer {
                        bindings = <                    

// layer 5 - manage items
//                                                                                     clean      streamline    profesh    exec - what is this?        

//┌─────────┬─────────┬──────────┬───────────┬─────────┐                    ┌─────────┬──────────┬─────────────┬───────────┬──────────┐
XXX   XXX       XXX       XXX        XXX         XXX                            XXX       XXX        XXX           XXX         XXX        XXX
//├─────────┼─────────┼──────────┼───────────┼─────────┤                    ├─────────┼──────────┼─────────────┼───────────┼──────────┤
XXX   XXX       XXX       XXX        XXX         XXX                            XXX       &kp HYP_R  &kp HYP_G     &kp HYP_S   &kp HYP_SE XXX
//├─────────┼─────────┼──────────┼───────────┼─────────┤                    ├─────────┼──────────┼─────────────┼───────────┼──────────┤
XXX   XXX       XXX       XXX        XXX         XXX                            XXX       XXX        XXX           XXX         XXX        XXX
//└─────────┴─────────┴───┬──────┴─────┬─────┴───┬─────┘                    └───┬─────┴───┬──────┴─────────────┴───────────┴──────────┘
                   XXX      ___          ___                           &kp LG(A)  ___     XXX      
                       // └────────────┴─────────┘                    └─────────┴─────────┘

                        >;
                };

                sym_layer {
                        bindings = <                    

// layer 6 - symbol layer - left index down

//┌─────────┬─────────┬──────────┬───────────┬─────────┐                    ┌─────────┬──────────┬─────────────┬───────────┬──────────┐
XXX   XXX       XXX       XXX        XXX         XXX                            &kp TILDE XXX           &kp LS(N8) &kp LS(EQUAL) XXX        XXX
//├─────────┼─────────┼──────────┼───────────┼─────────┤                    ├─────────┼──────────┼─────────────┼───────────┼──────────┤
XXX   XXX       XXX       XXX        &kp BSPC    XXX                            &kp BSLH  &kp LS(N9)    &kp LS(N7) &kp LS(N0)    &kp LS(N5) XXX
//├─────────┼─────────┼──────────┼───────────┼─────────┤                    ├─────────┼──────────┼─────────────┼───────────┼──────────┤
XXX   XXX       XXX       XXX        XXX         XXX                            XXX       &kp LS(COMMA) &kp EQUAL  &kp LS(DOT)   XXX        XXX
//└─────────┴─────────┴───┬──────┴─────┬─────┴───┬─────┘                    └───┬─────┴───┬──────┴─────────────┴───────────┴──────────┘
                      XXX   ___          ___                           &kp FSLH       ___   XXX   
                       // └────────────┴─────────┘                    └─────────┴─────────┘

                        >;
                };

                app_layer {
                        bindings = <                    

// layer 7 - NOT USED

//┌─────────┬─────────┬──────────┬───────────┬─────────┐                    ┌─────────┬──────────┬─────────────┬───────────┬──────────┐
XXX   XXX       XXX       XXX        XXX         XXX                            XXX       XXX        XXX           XXX         XXX        XXX
//├─────────┼─────────┼──────────┼───────────┼─────────┤                    ├─────────┼──────────┼─────────────┼───────────┼──────────┤
XXX   XXX       XXX       XXX        XXX         XXX                            XXX       XXX        XXX           XXX         XXX        XXX
//├─────────┼─────────┼──────────┼───────────┼─────────┤                    ├─────────┼──────────┼─────────────┼───────────┼──────────┤
XXX   XXX       XXX       XXX        XXX         XXX                            XXX       XXX        XXX           XXX         XXX        XXX
//└─────────┴─────────┴───┬──────┴─────┬─────┴───┬─────┘                    └───┬─────┴───┬──────┴─────────────┴───────────┴──────────┘
                     XXX       ___          ___                            ___        ___  XXX     
                       // └────────────┴─────────┘                    └─────────┴─────────┘

                        >;
                };

                aer_layer {
                        bindings = <                    

// layer 8 - NOT USED - aerospace meh keys - left pinky

//┌─────────┬─────────┬──────────┬───────────┬─────────┐                    ┌─────────┬──────────┬─────────────┬───────────┬──────────┐
XXX   XXX       XXX       XXX        XXX         XXX                            XXX       XXX        XXX           XXX         XXX        XXX
//├─────────┼─────────┼──────────┼───────────┼─────────┤                    ├─────────┼──────────┼─────────────┼───────────┼──────────┤
XXX   XXX       XXX       XXX        XXX         XXX                            XXX       XXX        XXX           XXX         XXX        XXX
//├─────────┼─────────┼──────────┼───────────┼─────────┤                    ├─────────┼──────────┼─────────────┼───────────┼──────────┤
XXX   XXX       XXX       XXX        XXX         XXX                            XXX       XXX        XXX           XXX         XXX        XXX
//└─────────┴─────────┴───┬──────┴─────┬─────┴───┬─────┘                    └───┬─────┴───┬──────┴─────────────┴───────────┴──────────┘
                     XXX       ___          ___                            ___        ___  XXX    
                       // └────────────┴─────────┘                    └─────────┴─────────┘
                       
                        >;
                };

                aeo_layer {
                        bindings = <                    

// layer 9 - NOT USED

//┌─────────┬─────────┬──────────┬───────────┬─────────┐                    ┌─────────┬──────────┬─────────────┬───────────┬──────────┐
XXX   XXX       XXX       XXX        XXX         XXX                            XXX       XXX        XXX           XXX         XXX XXX
//├─────────┼─────────┼──────────┼───────────┼─────────┤                    ├─────────┼──────────┼─────────────┼───────────┼──────────┤
XXX   XXX       XXX       XXX        XXX         XXX                            XXX       XXX        XXX           XXX         XXX XXX
//├─────────┼─────────┼──────────┼───────────┼─────────┤                    ├─────────┼──────────┼─────────────┼───────────┼──────────┤
XXX   XXX       XXX       XXX        XXX         XXX                            XXX       XXX        XXX           XXX         XXX XXX
//└─────────┴─────────┴───┬──────┴─────┬─────┴───┬─────┘                    └───┬─────┴───┬──────┴─────────────┴───────────┴──────────┘
                        XXX    ___          ___                            ___        ___     XXX 
                       // └────────────┴─────────┘                    └─────────┴─────────┘
                       
                        >;
                };

                aei_layer {
                        bindings = <                    

// layer 10 - NOT USED

//┌─────────┬─────────┬──────────┬───────────┬─────────┐                    ┌─────────┬──────────┬─────────────┬───────────┬──────────┐
XXX   XXX       XXX       XXX        XXX         XXX                            XXX       XXX           XXX           XXX          XXX XXX
//├─────────┼─────────┼──────────┼───────────┼─────────┤                    ├─────────┼──────────┼─────────────┼───────────┼──────────┤
XXX   XXX       XXX       XXX        XXX         XXX                            XXX       XXX           XXX           XXX          XXX XXX
//├─────────┼─────────┼──────────┼───────────┼─────────┤                    ├─────────┼──────────┼─────────────┼───────────┼──────────┤
XXX   XXX       XXX       XXX        XXX         XXX                            XXX       XXX           XXX           XXX          XXX XXX
//└─────────┴─────────┴───┬──────┴─────┬─────┴───┬─────┘                    └───┬─────┴───┬──────┴─────────────┴───────────┴──────────┘
                      XXX      ___          ___                            ___        ___   XXX   
                       // └────────────┴─────────┘                    └─────────┴─────────┘
                       
                        >;
                };

                nor_layer {
                        bindings = <                        

// layer 11 - NOT USED

//┌─────────┬─────────┬──────────┬───────────┬─────────┐                    ┌─────────┬──────────┬─────────────┬───────────┬──────────┐
XXX   XXX       XXX       XXX        XXX         XXX                            XXX       XXX        XXX           XXX         XXX XXX
//├─────────┼─────────┼──────────┼───────────┼─────────┤                    ├─────────┼──────────┼─────────────┼───────────┼──────────┤
XXX   XXX       XXX       XXX        XXX         XXX                            XXX       XXX        XXX           XXX         XXX XXX
//├─────────┼─────────┼──────────┼───────────┼─────────┤                    ├─────────┼──────────┼─────────────┼───────────┼──────────┤
XXX   XXX       XXX       XXX        XXX         XXX                            XXX       XXX        XXX           XXX         XXX XXX
//└─────────┴─────────┴───┬──────┴─────┬─────┴───┬─────┘                    └───┬─────┴───┬──────┴─────────────┴───────────┴──────────┘
                     XXX       ___          ___                            ___        ___    XXX  
                       // └────────────┴─────────┘                    └─────────┴─────────┘
                       
                        >;
                };

        };
};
